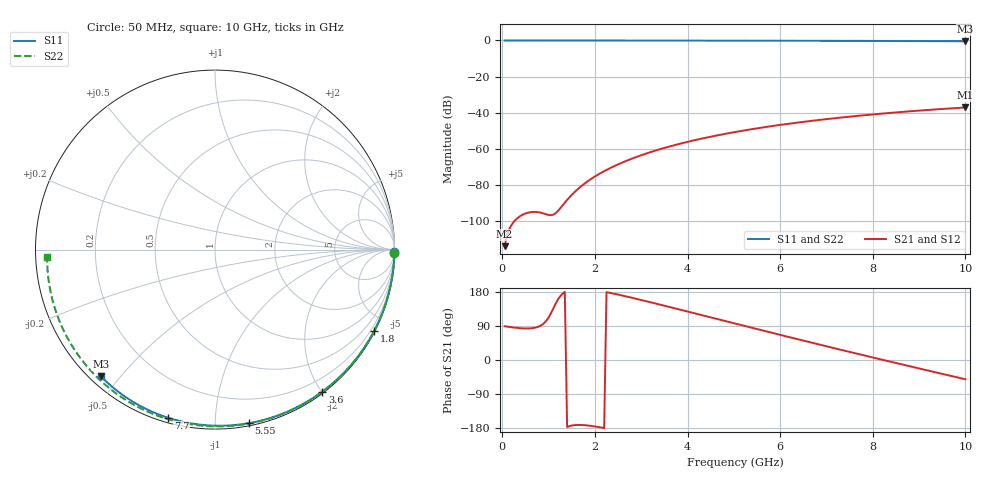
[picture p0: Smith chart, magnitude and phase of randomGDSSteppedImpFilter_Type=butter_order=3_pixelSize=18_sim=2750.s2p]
! freq	dB(S11)	phase(S11)	dB(S12)	phase(S12)
!  dB(S21)	phase(S21)	dB(S22)	phase(S22)
!S-par simulation data
#  GHz  S  DB  R 50
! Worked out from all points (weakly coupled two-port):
!   200 points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, 50 MHz to 10 GHz, reference 50 ohm
!   highest |S21| = -37.16 dB at 10 GHz (marker M1); lowest = -114.1 dB at 50 MHz (marker M2)
!   lowest |S11| = -0.4 dB at 10 GHz (marker M3), VSWR 38.88, Z = 1.54 - j22.2 ohm
!   |S11| at or under -10 dB: nowhere
!   |S22| runs from -0.6 to 0.0 dB; largest |S21 - S12| = 0
!   S11 on the Smith chart (normalised r, x): 50 MHz: open; 1.8 GHz: 0.04, -4.15; 3.6 GHz: 0.02, -2.01; 5.55 GHz: 0.02, -1.21; 7.7 GHz: 0.02, -0.76; 10 GHz: 0.03, -0.44
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0.05  -0.00 -0.8  -114.07 89.1  -114.07 89.1  -0.00 -1.0
0.45  -0.01 -6.9  -96.47 83.4  -96.47 83.4  -0.01 -9.4
0.85  -0.02 -12.9  -95.64 92.3  -95.64 92.3  -0.02 -17.6
1.3  -0.02 -19.7  -91.49 174.9  -91.49 174.9  -0.03 -26.7
1.75  -0.03 -26.3  -79.88 -171.7  -79.88 -171.7  -0.05 -35.7
1.8  -0.03 -27.1  -78.91 -172.2  -78.91 -172.2  -0.05 -36.7
1.95  -0.04 -29.3  -76.25 -174.4  -76.25 -174.4  -0.05 -39.7
2.1  -0.04 -31.5  -73.90 -177.4  -73.90 -177.4  -0.05 -42.7
2.3  -0.04 -34.4  -71.14 177.9  -71.14 177.9  -0.06 -46.6
2.5  -0.05 -37.3  -68.71 172.6  -68.71 172.6  -0.06 -50.4
2.9  -0.06 -43.0  -64.56 161.3  -64.56 161.3  -0.08 -58.1
3.4  -0.07 -50.1  -60.34 146.3  -60.34 146.3  -0.09 -67.5
3.6  -0.07 -52.9  -58.87 140.2  -58.87 140.2  -0.10 -71.1
4.3  -0.09 -62.5  -54.46 118.6  -54.46 118.6  -0.12 -83.7
5.05  -0.11 -72.5  -50.67 95.4  -50.67 95.4  -0.15 -96.8
5.55  -0.13 -79.0  -48.53 80.1  -48.53 80.1  -0.17 -105.2
6.1  -0.15 -86.0  -46.47 63.3  -46.47 63.3  -0.20 -114.3
6.7  -0.18 -93.5  -44.50 45.2  -44.50 45.2  -0.24 -124.0
7.7  -0.24 -105.6  -41.74 15.4  -41.74 15.4  -0.32 -140.0
8.35  -0.29 -113.2  -40.22 -3.6  -40.22 -3.6  -0.38 -150.4
9.2  -0.36 -123.0  -38.52 -28.0  -38.52 -28.0  -0.47 -164.1
10  -0.45 -132.1  -37.16 -50.8  -37.16 -50.8  -0.57 -177.3
